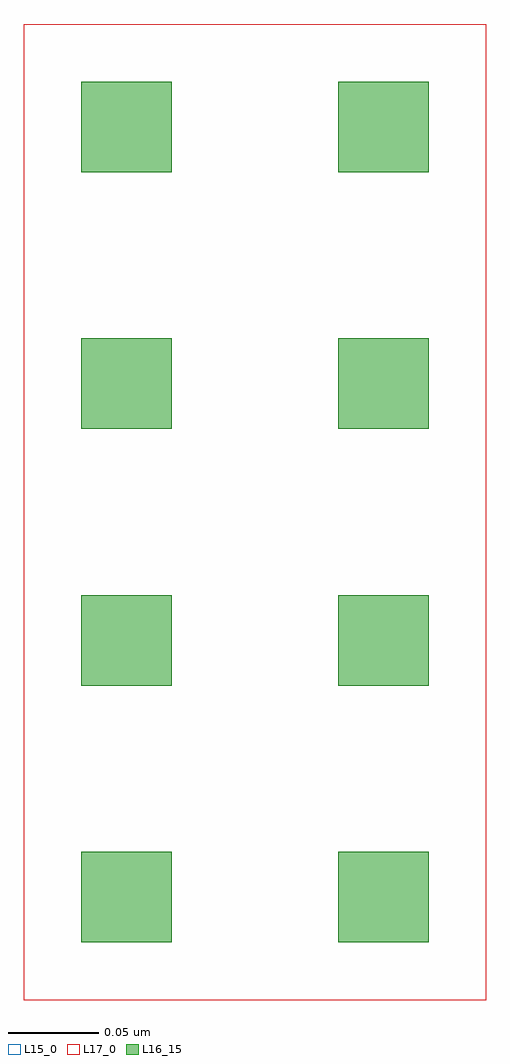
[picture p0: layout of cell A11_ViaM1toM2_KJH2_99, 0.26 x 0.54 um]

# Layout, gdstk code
import gdstk
lib = gdstk.Library(unit=1e-6, precision=1e-09)
def R(c, l, rs):  # rectangles x0, y0, x1, y1
    for r in rs: c.add(gdstk.rectangle(r[:2], r[2:], *l))
def A(c, l, x, y, w, h, nx, ny, dx, dy):  # array of equal rectangles
    R(c, l, [(x+i*dx, y+j*dy, x+i*dx+w, y+j*dy+h) for i in range(nx) for j in range(ny)])
L15_0 = (15, 0)
L16_15 = (16, 15)
L17_0 = (17, 0)

a11_viam1tom2_kjh2_99 = lib.new_cell('A11_ViaM1toM2_KJH2_99')
R(a11_viam1tom2_kjh2_99, L15_0, [(-0.032,-0.458,0.224,0.082)])
A(a11_viam1tom2_kjh2_99, L16_15, 0, -0.426, 0.05, 0.05, 1, 4, 0, 0.142)
A(a11_viam1tom2_kjh2_99, L16_15, 0.142, -0.426, 0.05, 0.05, 1, 4, 0, 0.142)
R(a11_viam1tom2_kjh2_99, L17_0, [(-0.032,-0.458,0.224,0.082)])

lib.write_gds('A11_ViaM1toM2_KJH2_99.gds')
